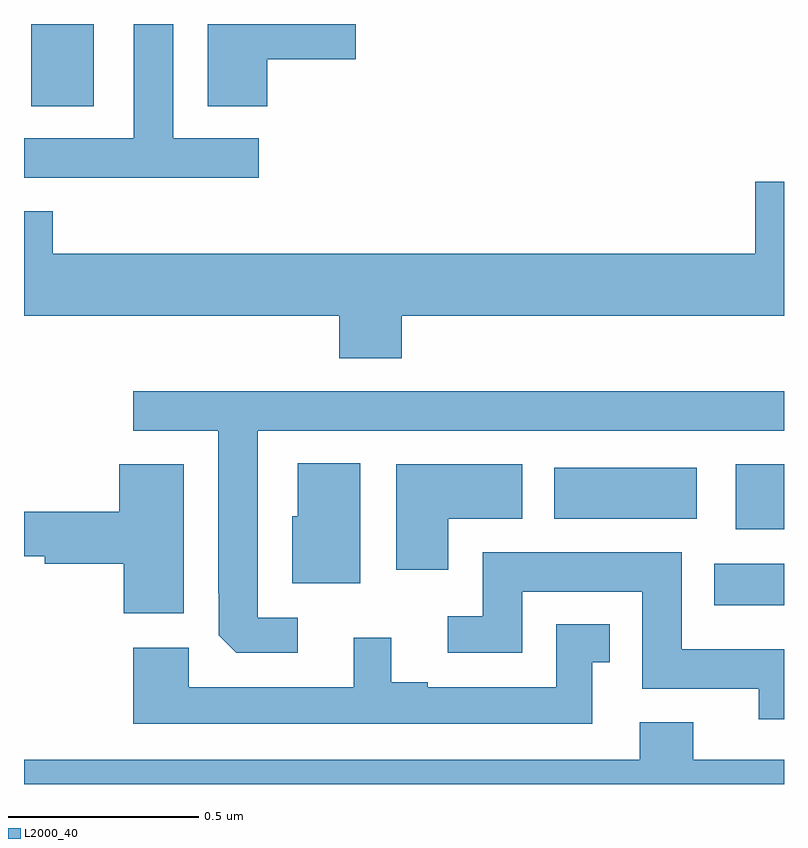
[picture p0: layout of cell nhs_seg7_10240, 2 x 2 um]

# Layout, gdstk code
import gdstk
lib = gdstk.Library(unit=1e-6, precision=1e-09)
def R(c, l, rs):  # rectangles x0, y0, x1, y1
    for r in rs: c.add(gdstk.rectangle(r[:2], r[2:], *l))
def P(c, l, *ps):  # polygons
    for p in ps: c.add(gdstk.Polygon(p, *l))
L2000_40 = (2000, 40)

nhs_seg7_10240 = lib.new_cell('nhs_seg7_10240')
R(nhs_seg7_10240, L2000_40, [(248.816,1050.47,249,1050.58), (248.873,1050.671,249,1050.841), (248.396,1050.698,248.77,1050.832), (247.019,1051.784,247.183,1052)])
P(nhs_seg7_10240, L2000_40, [(247.618,1051.699),(247.393,1051.699),(247.393,1052),(247.289,1052),(247.289,1051.699),(247,1051.699),(247,1051.595),(247.618,1051.595)],
  [(247.64,1051.907),(247.873,1051.907),(247.873,1052),(247.484,1052),(247.484,1051.784),(247.64,1051.784)],
  [(247.994,1051.232),(249,1051.232),(249,1051.585),(248.924,1051.585),(248.924,1051.396),(247.076,1051.396),(247.076,1051.507),(247,1051.507),(247,1051.232),(247.829,1051.232),(247.829,1051.121),(247.994,1051.121)],
  [(247.72,1050.438),(247.615,1050.438),(247.615,1050.929),(249,1050.929),(249,1051.033),(247.287,1051.033),(247.287,1050.929),(247.511,1050.929),(247.511,1050.502),(247.512,1050.502),(247.512,1050.391),(247.558,1050.345),(247.72,1050.345)],
  [(247.885,1050.844),(247.721,1050.844),(247.721,1050.705),(247.706,1050.705),(247.706,1050.528),(247.885,1050.528)],
  [(248.116,1050.698),(248.311,1050.698),(248.311,1050.841),(247.979,1050.841),(247.979,1050.564),(248.116,1050.564)],
  [(247.42,1050.841),(247.25,1050.841),(247.25,1050.716),(247,1050.716),(247,1050.6),(247.054,1050.6),(247.054,1050.58),(247.262,1050.58),(247.262,1050.449),(247.42,1050.449)],
  [(249,1050.355),(248.731,1050.355),(248.731,1050.61),(248.207,1050.61),(248.207,1050.441),(248.115,1050.441),(248.115,1050.345),(248.311,1050.345),(248.311,1050.506),(248.627,1050.506),(248.627,1050.251),(248.933,1050.251),(248.933,1050.171),(249,1050.171)],
  [(248.496,1050.321),(248.542,1050.321),(248.542,1050.421),(248.4,1050.421),(248.4,1050.255),(248.062,1050.255),(248.062,1050.268),(247.966,1050.268),(247.966,1050.385),(247.868,1050.385),(247.868,1050.255),(247.434,1050.255),(247.434,1050.358),(247.288,1050.358),(247.288,1050.159),(248.496,1050.159)],
  [(249,1050.064),(248.761,1050.064),(248.761,1050.163),(248.621,1050.163),(248.621,1050.064),(247,1050.064),(247,1050),(249,1050)])

lib.write_gds('nhs_seg7_10240.gds')
